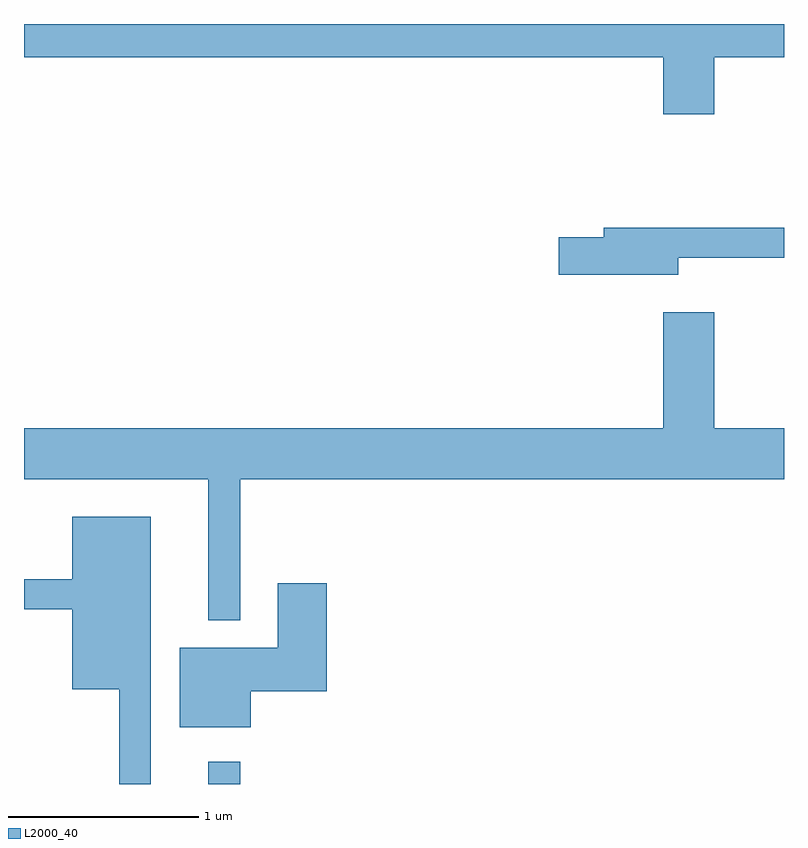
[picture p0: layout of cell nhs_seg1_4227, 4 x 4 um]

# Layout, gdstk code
import gdstk
lib = gdstk.Library(unit=1e-6, precision=1e-09)
def R(c, l, rs):  # rectangles x0, y0, x1, y1
    for r in rs: c.add(gdstk.rectangle(r[:2], r[2:], *l))
def P(c, l, *ps):  # polygons
    for p in ps: c.add(gdstk.Polygon(p, *l))
L2000_40 = (2000, 40)

nhs_seg1_4227 = lib.new_cell('nhs_seg1_4227')
R(nhs_seg1_4227, L2000_40, [(312.581,935.712,312.749,935.828)])
P(nhs_seg1_4227, L2000_40, [(315.244,939.536),(315.611,939.536),(315.611,939.712),(311.611,939.712),(311.611,939.536),(314.976,939.536),(314.976,939.236),(315.244,939.236)],
  [(315.054,938.481),(315.611,938.481),(315.611,938.639),(314.661,938.639),(314.661,938.589),(314.426,938.589),(314.426,938.391),(315.054,938.391)],
  [(312.749,937.316),(315.611,937.316),(315.611,937.584),(315.244,937.584),(315.244,938.194),(314.976,938.194),(314.976,937.584),(311.611,937.584),(311.611,937.316),(312.581,937.316),(312.581,936.573),(312.749,936.573)],
  [(312.279,937.119),(311.866,937.119),(311.866,936.789),(311.611,936.789),(311.611,936.631),(311.866,936.631),(311.866,936.211),(312.111,936.211),(312.111,935.712),(312.279,935.712)],
  [(312.804,936.201),(313.204,936.201),(313.204,936.769),(312.946,936.769),(312.946,936.429),(312.431,936.429),(312.431,936.011),(312.804,936.011)])

lib.write_gds('nhs_seg1_4227.gds')
